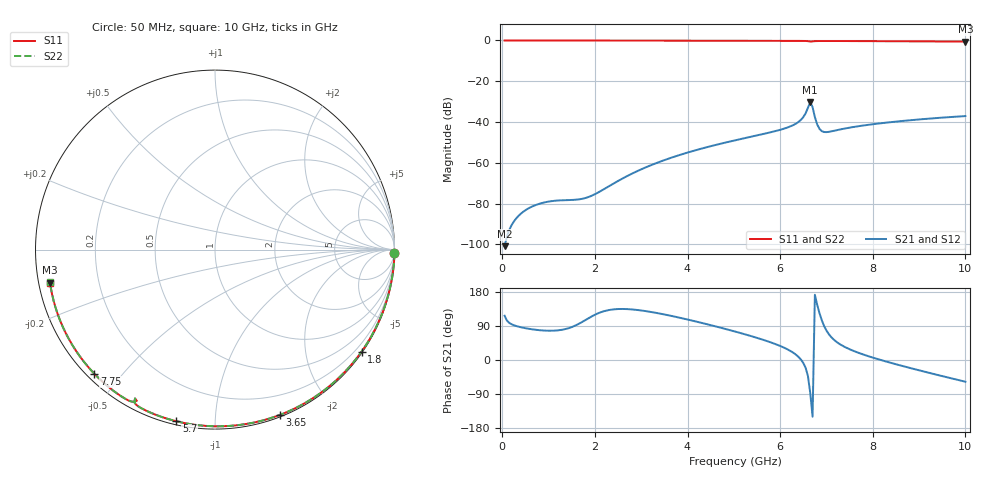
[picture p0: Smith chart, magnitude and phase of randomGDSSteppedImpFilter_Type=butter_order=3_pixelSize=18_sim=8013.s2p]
! freq	dB(S11)	phase(S11)	dB(S12)	phase(S12)
!  dB(S21)	phase(S21)	dB(S22)	phase(S22)
!S-par simulation data
#  GHz  S  DB  R 50
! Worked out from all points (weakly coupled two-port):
!   200 points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, 50 MHz to 10 GHz, reference 50 ohm
!   highest |S21| = -30.28 dB at 6.65 GHz (marker M1); lowest = -100.9 dB at 50 MHz (marker M2)
!   lowest |S11| = -0.6 dB at 10 GHz (marker M3), VSWR 31.07, Z = 1.63 - j4.93 ohm
!   |S11| at or under -10 dB: nowhere
!   |S22| runs from -0.6 to 0.0 dB; largest |S21 - S12| = 0
!   S11 on the Smith chart (normalised r, x): 50 MHz: open; 1.8 GHz: 0.03, -3.19; 3.65 GHz: 0.02, -1.47; 5.7 GHz: 0.02, -0.80; 7.75 GHz: 0.02, -0.42; 10 GHz: 0.03, -0.10
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0.05  -0.00 -1.0  -100.89 116.7  -100.89 116.7  -0.00 -1.0
0.8  -0.02 -15.7  -80.09 78.7  -80.09 78.7  -0.02 -15.7
1.75  -0.04 -33.9  -77.54 102.2  -77.54 102.2  -0.04 -33.9
1.8  -0.04 -34.8  -77.24 105.8  -77.24 105.8  -0.04 -34.9
2.05  -0.05 -39.5  -74.80 122.3  -74.80 122.3  -0.05 -39.6
2.8  -0.07 -53.4  -65.32 133.4  -65.32 133.4  -0.07 -53.4
3.4  -0.09 -64.1  -59.51 122.6  -59.51 122.6  -0.09 -64.1
3.65  -0.09 -68.5  -57.50 116.4  -57.50 116.4  -0.09 -68.5
5.05  -0.14 -92.2  -48.85 74.3  -48.85 74.3  -0.14 -92.2
5.7  -0.17 -102.7  -45.54 50.6  -45.54 50.6  -0.17 -102.7
6.15  -0.20 -109.9  -42.75 28.7  -42.75 28.7  -0.20 -109.9
6.4  -0.22 -114.0  -39.89 7.7  -39.89 7.7  -0.22 -114.0
6.55  -0.26 -116.7  -35.74 -20.7  -35.74 -20.7  -0.26 -116.8
6.65  -0.52 -118.2  -30.28 -87.4  -30.28 -87.4  -0.53 -118.3
6.7  -0.46 -117.4  -32.70 -149.6  -32.70 -149.6  -0.47 -117.4
6.75  -0.33 -118.1  -37.60 172.1  -37.60 172.1  -0.33 -118.1
6.8  -0.29 -119.1  -41.20 145.6  -41.20 145.6  -0.29 -119.1
6.9  -0.27 -120.9  -44.50 104.6  -44.50 104.6  -0.27 -120.9
7.05  -0.27 -123.3  -44.82 68.3  -44.82 68.3  -0.27 -123.3
7.75  -0.31 -134.1  -41.85 16.4  -41.85 16.4  -0.31 -134.2
8.35  -0.37 -143.3  -40.16 -6.2  -40.16 -6.2  -0.37 -143.3
10  -0.56 -168.7  -37.09 -57.4  -37.09 -57.4  -0.56 -168.8
